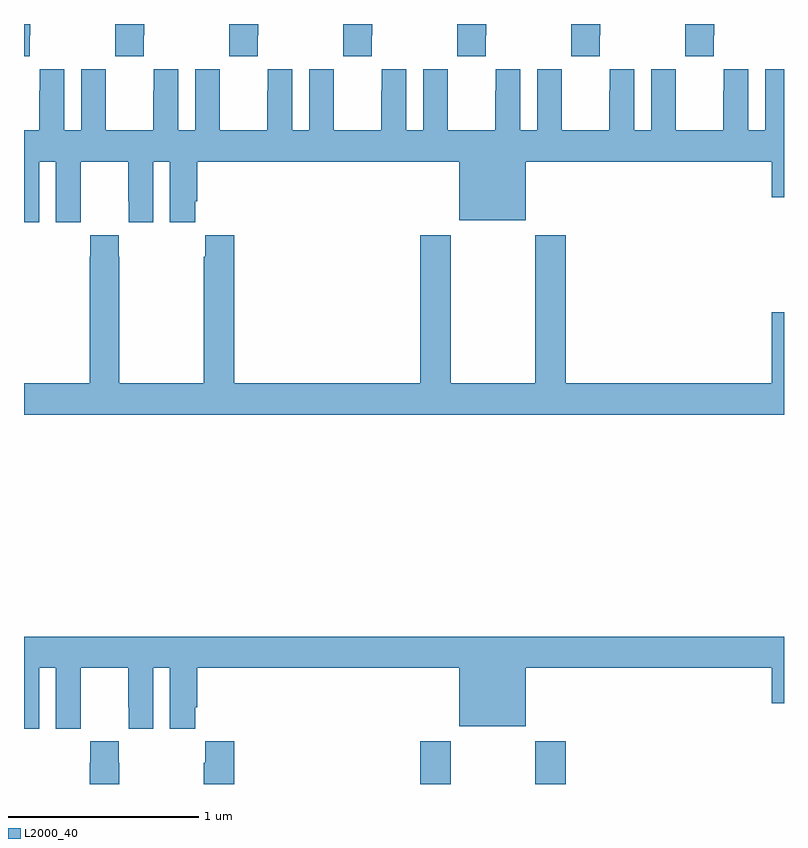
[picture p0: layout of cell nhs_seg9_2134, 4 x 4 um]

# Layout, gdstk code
import gdstk
lib = gdstk.Library(unit=1e-6, precision=1e-09)
def R(c, l, rs):  # rectangles x0, y0, x1, y1
    for r in rs: c.add(gdstk.rectangle(r[:2], r[2:], *l))
def P(c, l, *ps):  # polygons
    for p in ps: c.add(gdstk.Polygon(p, *l))
L2000_40 = (2000, 40)

nhs_seg9_2134 = lib.new_cell('nhs_seg9_2134')
R(nhs_seg9_2134, L2000_40, [(235.085,1170.5,235.245,1170.724), (235.69,1170.5,235.85,1170.724)])
P(nhs_seg9_2134, L2000_40, [(233.031,1174.441),(233.034,1174.441),(233.034,1174.5),(233,1174.5),(233,1174.329),(233.031,1174.329)],
  [(233.631,1174.441),(233.634,1174.441),(233.634,1174.5),(233.479,1174.5),(233.479,1174.441),(233.481,1174.441),(233.481,1174.329),(233.631,1174.329)],
  [(234.231,1174.441),(234.234,1174.441),(234.234,1174.5),(234.079,1174.5),(234.079,1174.441),(234.081,1174.441),(234.081,1174.329),(234.231,1174.329)],
  [(234.831,1174.441),(234.834,1174.441),(234.834,1174.5),(234.679,1174.5),(234.679,1174.441),(234.681,1174.441),(234.681,1174.329),(234.831,1174.329)],
  [(235.431,1174.441),(235.434,1174.441),(235.434,1174.5),(235.279,1174.5),(235.279,1174.441),(235.281,1174.441),(235.281,1174.329),(235.431,1174.329)],
  [(236.031,1174.441),(236.034,1174.441),(236.034,1174.5),(235.879,1174.5),(235.879,1174.441),(235.881,1174.441),(235.881,1174.329),(236.031,1174.329)],
  [(236.631,1174.441),(236.634,1174.441),(236.634,1174.5),(236.479,1174.5),(236.479,1174.441),(236.481,1174.441),(236.481,1174.329),(236.631,1174.329)],
  [(235.612,1174.261),(235.482,1174.261),(235.482,1174.148),(235.481,1174.148),(235.481,1173.94),(235.231,1173.94),(235.231,1174.148),(235.23,1174.148),(235.23,1174.261),(235.1,1174.261),(235.1,1173.94),(235.012,1173.94),(235.012,1174.261),(234.882,1174.261),(234.882,1174.148),(234.881,1174.148),(234.881,1173.94),(234.631,1173.94),(234.631,1174.148),(234.63,1174.148),(234.63,1174.261),(234.5,1174.261),(234.5,1173.94),(234.412,1173.94),(234.412,1174.261),(234.282,1174.261),(234.282,1174.148),(234.281,1174.148),(234.281,1173.94),(234.031,1173.94),(234.031,1174.148),(234.03,1174.148),(234.03,1174.261),(233.9,1174.261),(233.9,1173.94),(233.812,1173.94),(233.812,1174.261),(233.682,1174.261),(233.682,1174.148),(233.681,1174.148),(233.681,1173.94),(233.431,1173.94),(233.431,1174.148),(233.43,1174.148),(233.43,1174.261),(233.3,1174.261),(233.3,1173.94),(233.212,1173.94),(233.212,1174.261),(233.082,1174.261),(233.082,1174.148),(233.081,1174.148),(233.081,1173.94),(233,1173.94),(233,1173.456),(233.08,1173.456),(233.08,1173.776),(233.168,1173.776),(233.168,1173.456),(233.298,1173.456),(233.298,1173.568),(233.299,1173.568),(233.299,1173.776),(233.549,1173.776),(233.549,1173.568),(233.55,1173.568),(233.55,1173.456),(233.68,1173.456),(233.68,1173.776),(233.768,1173.776),(233.768,1173.456),(233.902,1173.456),(233.902,1173.568),(233.912,1173.568),(233.912,1173.776),(235.292,1173.776),(235.292,1173.467),(235.642,1173.467),(235.642,1173.776),(236.936,1173.776),(236.936,1173.588),(237,1173.588),(237,1174.261),(236.9,1174.261),(236.9,1173.94),(236.812,1173.94),(236.812,1174.261),(236.682,1174.261),(236.682,1174.148),(236.681,1174.148),(236.681,1173.94),(236.431,1173.94),(236.431,1174.148),(236.43,1174.148),(236.43,1174.261),(236.3,1174.261),(236.3,1173.94),(236.212,1173.94),(236.212,1174.261),(236.082,1174.261),(236.082,1174.148),(236.081,1174.148),(236.081,1173.94),(235.831,1173.94),(235.831,1174.148),(235.83,1174.148),(235.83,1174.261),(235.7,1174.261),(235.7,1173.94),(235.612,1173.94)],
  [(237,1172.983),(236.936,1172.983),(236.936,1172.608),(235.85,1172.608),(235.85,1173.388),(235.69,1173.388),(235.69,1172.608),(235.245,1172.608),(235.245,1173.388),(235.085,1173.388),(235.085,1172.608),(234.107,1172.608),(234.107,1173.388),(233.953,1173.388),(233.953,1173.275),(233.947,1173.275),(233.947,1172.608),(233.502,1172.608),(233.502,1173.275),(233.499,1173.275),(233.499,1173.388),(233.349,1173.388),(233.349,1173.275),(233.347,1173.275),(233.347,1172.608),(233,1172.608),(233,1172.444),(237,1172.444)],
  [(233.08,1171.112),(233.168,1171.112),(233.168,1170.792),(233.298,1170.792),(233.298,1170.904),(233.299,1170.904),(233.299,1171.112),(233.549,1171.112),(233.549,1170.904),(233.55,1170.904),(233.55,1170.792),(233.68,1170.792),(233.68,1171.112),(233.768,1171.112),(233.768,1170.792),(233.902,1170.792),(233.902,1170.904),(233.912,1170.904),(233.912,1171.112),(235.292,1171.112),(235.292,1170.803),(235.642,1170.803),(235.642,1171.112),(236.936,1171.112),(236.936,1170.924),(237,1170.924),(237,1171.276),(233,1171.276),(233,1170.792),(233.08,1170.792)],
  [(234.107,1170.724),(233.953,1170.724),(233.953,1170.611),(233.947,1170.611),(233.947,1170.5),(234.107,1170.5)],
  [(233.502,1170.611),(233.499,1170.611),(233.499,1170.724),(233.349,1170.724),(233.349,1170.611),(233.347,1170.611),(233.347,1170.5),(233.502,1170.5)])

lib.write_gds('nhs_seg9_2134.gds')
